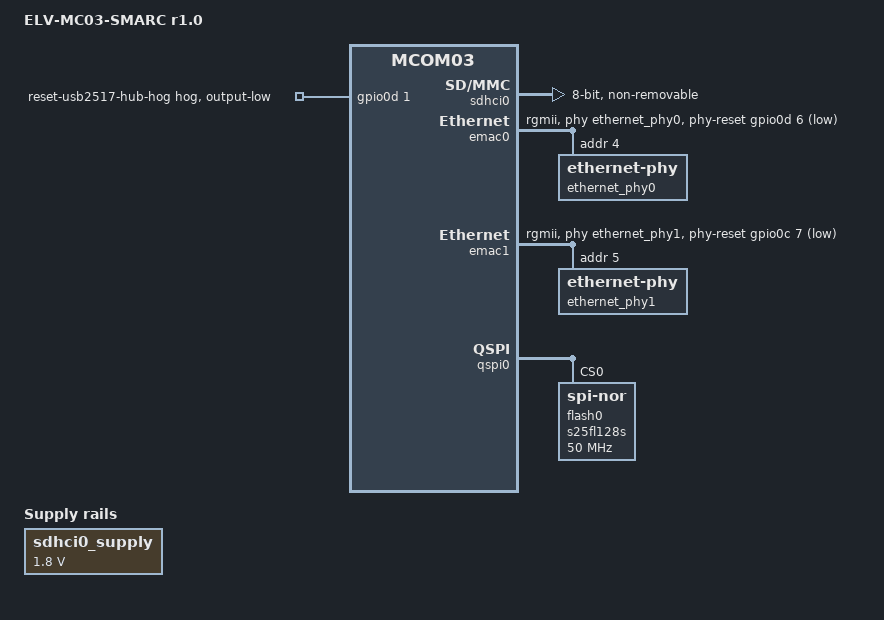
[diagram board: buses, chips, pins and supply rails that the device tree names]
// SPDX-License-Identifier: GPL-2.0+
/*
 * Copyright 2021 RnD Center "ELVEES", JSC
 */

/dts-v1/;

#include <dt-bindings/net/ti-dp83867.h>

#include "mcom03.dtsi"

/ {
	model = "ELV-MC03-SMARC r1.0";
	compatible = "elvees,elvmc03smarc-r1.0",
		     "elvees,elvmc03smarc",
		     "elvees,mcom03";

	sdhci0_supply: regulator@0 {
		compatible = "regulator-fixed";
		regulator-name = "sdhci0-supply";
		regulator-min-microvolt = <1800000>;
		regulator-max-microvolt = <1800000>;
		regulator-always-on;
	};
};

&gpio0d {
	gpio-line-names = "SER2_TX", "USB_HUB_RST", "LED_ORANGE", "I2C0_SCL",
		"I2C0_SDA", "I2C0_SMBALERT", "RGMII_0_RST#", "LED_BLUE";

	reset-usb2517-hub-hog {
		gpio-hog;
		gpios = <1 GPIO_ACTIVE_HIGH>;
		output-low;
	};
};

/* Connected to eMMC */
&sdhci0 {
	status = "okay";

	non-removable;
	bus-width = <8>;

	vqmmc-supply = <&sdhci0_supply>;
};

&emac0 {
	phy-mode = "rgmii";
	phy-handle = <&ethernet_phy0>;
	clocks = <&eth_bus_clk>;
	phy-reset-gpios = <&gpio0d 6 GPIO_ACTIVE_LOW>;
	elvees,pads-1v8-en;

	/* TODO: Remove this extra PHY reset cycle.
	 * DP83867 has to be reset twice on this module.
	 * The reason is currently unknown.
	 */
	elvees,extra-phy-reset-cycle;

	ethernet_phy0: ethernet-phy@4 {
		reg = <0x4>;
		ti,rx-internal-delay = <DP83867_RGMIIDCTL_2_00_NS>;
		ti,tx-internal-delay = <DP83867_RGMIIDCTL_2_00_NS>;
		ti,fifo-depth = <DP83867_PHYCR_FIFO_DEPTH_4_B_NIB>;
	};
};

&emac1 {
	phy-mode = "rgmii";
	phy-handle = <&ethernet_phy1>;
	clocks = <&eth_bus_clk>;
	phy-reset-gpios = <&gpio0c 7 GPIO_ACTIVE_LOW>;
	elvees,pads-1v8-en;

	/* TODO: Remove this extra PHY reset cycle.
	 * DP83867 has to be reset twice on this module.
	 * The reason is currently unknown.
	 */
	elvees,extra-phy-reset-cycle;

	ethernet_phy1: ethernet-phy@5 {
		reg = <0x5>;
		ti,rx-internal-delay = <DP83867_RGMIIDCTL_2_50_NS>;
		ti,tx-internal-delay = <DP83867_RGMIIDCTL_2_50_NS>;
		ti,fifo-depth = <DP83867_PHYCR_FIFO_DEPTH_4_B_NIB>;
	};
};

&qspi0 {
	status = "okay";

	flash0: s25fl128s@0 {
		#address-cells = <1>;
		#size-cells = <1>;
		compatible = "jedec,spi-nor", "spi-flash";
		reg = <0x0>;
		/* This is the highest frequency at which all commands are
		 * supported by the flash device.
		 */
		spi-max-frequency = <50000000>;

		spi-tx-bus-width = <4>;
		spi-rx-bus-width = <4>;
	};
};

/* Serial port definitions for SMARC */
ser1: &uart0 { };
ser2: &uart2 { };
ser3: &uart1 { };
